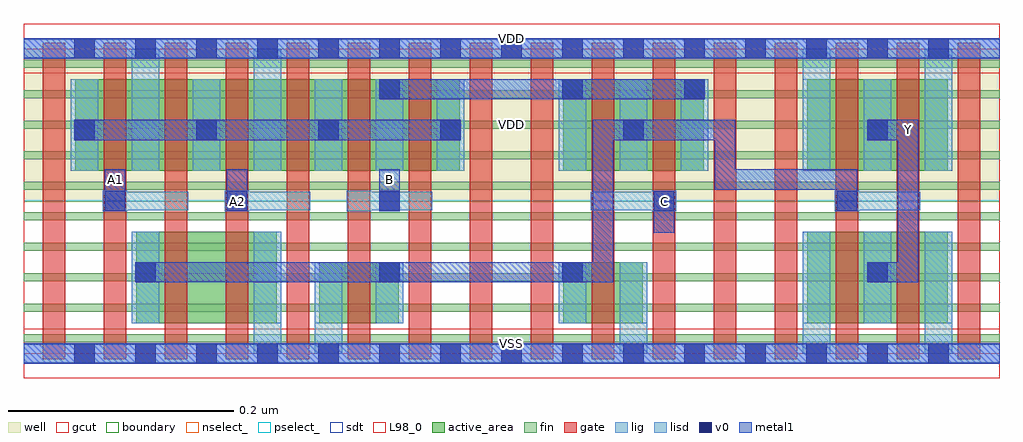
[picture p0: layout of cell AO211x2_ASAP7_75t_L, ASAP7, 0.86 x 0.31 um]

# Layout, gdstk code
import gdstk
lib = gdstk.Library(unit=1e-6, precision=2.5e-10)
def R(c, l, rs):  # rectangles x0, y0, x1, y1
    for r in rs: c.add(gdstk.rectangle(r[:2], r[2:], *l))
def A(c, l, x, y, w, h, nx, ny, dx, dy):  # array of equal rectangles
    R(c, l, [(x+i*dx, y+j*dy, x+i*dx+w, y+j*dy+h) for i in range(nx) for j in range(ny)])
def P(c, l, *ps):  # polygons
    for p in ps: c.add(gdstk.Polygon(p, *l))
well = (1, 0)
fin = (2, 0)
gate = (7, 0)
gcut = (10, 0)
active_area = (11, 0)
nselect_ = (12, 0)
pselect_ = (13, 0)
lig = (16, 0)
lisd = (17, 0)
v0 = (18, 0)
metal1 = (19, 0)
sdt = (88, 0)
L98_0 = (98, 0)
boundary = (100, 0)

ao211x2_asap7_75t_l = lib.new_cell('AO211x2_ASAP7_75t_L')
R(ao211x2_asap7_75t_l, well, [(0,0.135,0.864,0.27)])
A(ao211x2_asap7_75t_l, fin, 0, 0.01, 0.864, 0.007, 1, 10, 0, 0.027)
A(ao211x2_asap7_75t_l, gate, 0.017, -0.005, 0.02, 0.28, 16, 1, 0.054, 0)
R(ao211x2_asap7_75t_l, gcut, [(0,-0.022,0.864,0.022), (0,0.248,0.864,0.292)])
R(ao211x2_asap7_75t_l, active_area, [(0.1,0.027,0.224,0.108), (0.262,0.027,0.332,0.081), (0.478,0.027,0.548,0.081), (0.694,0.027,0.818,0.108), (0.046,0.162,0.386,0.243), (0.478,0.162,0.602,0.243), (0.694,0.162,0.818,0.243)])
R(ao211x2_asap7_75t_l, nselect_, [(0,0,0.864,0.135)])
R(ao211x2_asap7_75t_l, pselect_, [(0,0.135,0.864,0.27)])
A(ao211x2_asap7_75t_l, lig, 0.07, 0.126, 0.022, 0.018, 3, 1, 0.108, 0)
A(ao211x2_asap7_75t_l, lig, 0.07, 0.127, 0.076, 0.016, 3, 1, 0.108, 0)
R(ao211x2_asap7_75t_l, lig, [(0,-0.008,0.864,0.008), (0.556,0.126,0.578,0.144), (0.718,0.126,0.74,0.144), (0.502,0.127,0.578,0.143), (0.718,0.127,0.794,0.143), (0,0.262,0.864,0.278)])
A(ao211x2_asap7_75t_l, lisd, 0.042, 0.162, 0.024, 0.081, 3, 1, 0.108, 0)
A(ao211x2_asap7_75t_l, lisd, 0.474, 0.162, 0.024, 0.081, 3, 1, 0.054, 0)
R(ao211x2_asap7_75t_l, lisd, [(0.204,0,0.228,0.108), (0.204,0,0.228,0.108), (0.258,0,0.282,0.081), (0.258,0,0.282,0.081), (0.528,0,0.552,0.081), (0.528,0,0.552,0.081), (0.69,0,0.714,0.108), (0.69,0,0.714,0.108), (0.798,0,0.822,0.108), (0.798,0,0.822,0.108), (0.096,0.027,0.12,0.108), (0.312,0.027,0.336,0.081), (0.474,0.027,0.498,0.081), (0.744,0.027,0.768,0.108), (0.096,0.162,0.12,0.27), (0.096,0.162,0.12,0.27), (0.204,0.162,0.228,0.27), (0.204,0.162,0.228,0.27), (0.312,0.162,0.336,0.243), (0.366,0.162,0.39,0.243), (0.69,0.162,0.714,0.27), (0.69,0.162,0.714,0.27), (0.744,0.162,0.768,0.243), (0.798,0.162,0.822,0.27), (0.798,0.162,0.822,0.27)])
A(ao211x2_asap7_75t_l, v0, 0.045, -0.009, 0.018, 0.018, 15, 2, 0.054, 0.27)
A(ao211x2_asap7_75t_l, v0, 0.045, 0.189, 0.018, 0.018, 4, 1, 0.108, 0)
R(ao211x2_asap7_75t_l, v0, [(0.099,0.063,0.117,0.081), (0.315,0.063,0.333,0.081), (0.477,0.063,0.495,0.081), (0.747,0.063,0.765,0.081), (0.072,0.126,0.09,0.144), (0.18,0.126,0.198,0.144), (0.315,0.126,0.333,0.144), (0.558,0.126,0.576,0.144), (0.72,0.126,0.738,0.144), (0.531,0.189,0.549,0.207), (0.747,0.189,0.765,0.207), (0.315,0.225,0.333,0.243), (0.477,0.225,0.495,0.243), (0.585,0.225,0.603,0.243)])
A(ao211x2_asap7_75t_l, metal1, 0.045, 0.189, 0.018, 0.018, 4, 1, 0.108, 0)
R(ao211x2_asap7_75t_l, metal1, [(0,-0.009,0.864,0.009), (0.099,0.063,0.117,0.081), (0.315,0.063,0.333,0.081), (0.477,0.063,0.495,0.081), (0.747,0.063,0.765,0.081), (0.558,0.107,0.576,0.144), (0.072,0.126,0.09,0.144), (0.072,0.126,0.09,0.163), (0.18,0.126,0.198,0.144), (0.18,0.126,0.198,0.163), (0.315,0.126,0.333,0.144), (0.315,0.126,0.333,0.163), (0.558,0.126,0.576,0.144), (0.72,0.126,0.738,0.144), (0.045,0.189,0.387,0.207), (0.531,0.189,0.549,0.207), (0.747,0.189,0.765,0.207), (0.315,0.225,0.333,0.243), (0.315,0.225,0.603,0.243), (0.477,0.225,0.495,0.243), (0.585,0.225,0.603,0.243), (0,0.261,0.864,0.279)])
P(ao211x2_asap7_75t_l, metal1, [(0.72,0.126),(0.738,0.126),(0.738,0.163),(0.63,0.163),(0.63,0.207),(0.504,0.207),(0.504,0.081),(0.099,0.081),(0.099,0.063),(0.522,0.063),(0.522,0.189),(0.612,0.189),(0.612,0.145),(0.72,0.145)],
  [(0.747,0.207),(0.747,0.189),(0.774,0.189),(0.774,0.081),(0.747,0.081),(0.747,0.063),(0.792,0.063),(0.792,0.207)])
A(ao211x2_asap7_75t_l, sdt, 0.69, 0.027, 0.024, 0.081, 3, 2, 0.054, 0.135)
A(ao211x2_asap7_75t_l, sdt, 0.096, 0.162, 0.024, 0.081, 3, 1, 0.054, 0)
A(ao211x2_asap7_75t_l, sdt, 0.204, 0.162, 0.024, 0.081, 4, 1, 0.054, 0)
A(ao211x2_asap7_75t_l, sdt, 0.474, 0.162, 0.024, 0.081, 3, 1, 0.054, 0)
R(ao211x2_asap7_75t_l, sdt, [(0.096,0.027,0.12,0.108), (0.204,0.027,0.228,0.108), (0.204,0.027,0.228,0.108), (0.258,0.027,0.282,0.081), (0.258,0.027,0.282,0.081), (0.312,0.027,0.336,0.081), (0.474,0.027,0.498,0.081), (0.528,0.027,0.552,0.081), (0.528,0.027,0.552,0.081), (0.69,0.027,0.714,0.108), (0.798,0.027,0.822,0.108), (0.042,0.162,0.066,0.243), (0.096,0.162,0.12,0.243), (0.69,0.162,0.714,0.243), (0.798,0.162,0.822,0.243)])
R(ao211x2_asap7_75t_l, L98_0, [(0,0,0.864,0.27)])
R(ao211x2_asap7_75t_l, boundary, [(0,0,0.864,0.27)])
ao211x2_asap7_75t_l.add(gdstk.Label('VDD', (0.432,0.2025), layer=1, texttype=251))
ao211x2_asap7_75t_l.add(gdstk.Label('VSS', (0.432,-0.0675), layer=3, texttype=251))
ao211x2_asap7_75t_l.add(gdstk.Label('VSS', (0.432,0.009), layer=19, texttype=251))
ao211x2_asap7_75t_l.add(gdstk.Label('VDD', (0.432,0.279), layer=19, texttype=251))
ao211x2_asap7_75t_l.add(gdstk.Label('A1', (0.081,0.154), layer=19, texttype=251))
ao211x2_asap7_75t_l.add(gdstk.Label('A2', (0.189,0.135), layer=19, texttype=251))
ao211x2_asap7_75t_l.add(gdstk.Label('B', (0.324,0.154), layer=19, texttype=251))
ao211x2_asap7_75t_l.add(gdstk.Label('C', (0.567,0.135), layer=19, texttype=251))
ao211x2_asap7_75t_l.add(gdstk.Label('Y', (0.783,0.198), layer=19, texttype=251))

lib.write_gds('AO211x2_ASAP7_75t_L.gds')
